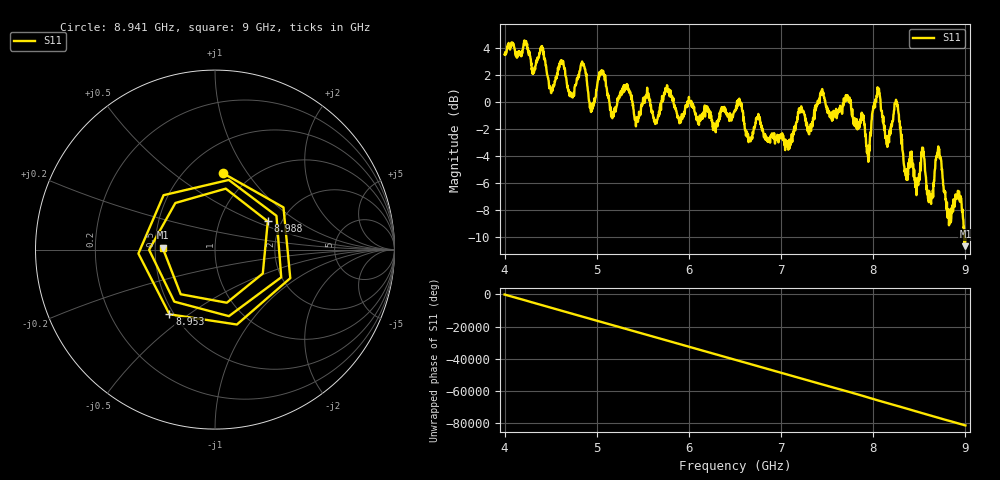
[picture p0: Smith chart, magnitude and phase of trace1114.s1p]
! Created with skrf 1.8.0 (http://scikit-rf.org).
# Hz S RI R 50.0
!freq ReS11 ImS11
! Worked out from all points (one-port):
!   1601 points, 4 GHz to 9 GHz, reference 50 ohm
!   lowest |S11| = -10.7 dB at 9 GHz (marker M1), VSWR 1.83, Z = 27.4 + j0.657 ohm
!   |S11| at or under -10 dB: 8.989406 GHz to end of sweep
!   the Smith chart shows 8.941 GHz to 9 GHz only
!   S11 on the Smith chart (normalised r, x): 8.941 GHz: 0.75, +0.78; 8.953 GHz: 0.47, -0.42; 8.988 GHz: 1.70, +0.60; 9 GHz: 0.55, +0.01
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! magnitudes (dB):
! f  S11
! 4 GHz  3.5
! 4.4 GHz  4.1
! 4.509 GHz  0.8
! 4.625 GHz  2.8
! 4.731 GHz  0.4
! 4.853 GHz  2.8
! 4.941 GHz  -0.6
! 5.047 GHz  2.3
! 5.162 GHz  -0.8
! 5.25 GHz  0.5
! 5.875 GHz  -1.1
! 6.5 GHz  -0.6
! 7.125 GHz  -2.4
! 7.438 GHz  0.7
! 7.75 GHz  0.1
! 7.941 GHz  -3.9
! 8.047 GHz  1.1
! 8.15 GHz  -2.5
! 8.253 GHz  0.0
! 8.375 GHz  -5.2
! 8.538 GHz  -3.4
! 8.619 GHz  -7.1
! 8.709 GHz  -3.9
! 8.822 GHz  -9.1
! 8.941 GHz  -7.4
! 8.953 GHz  -7.1
! 8.988 GHz  -9.5
! 9 GHz  -10.7
